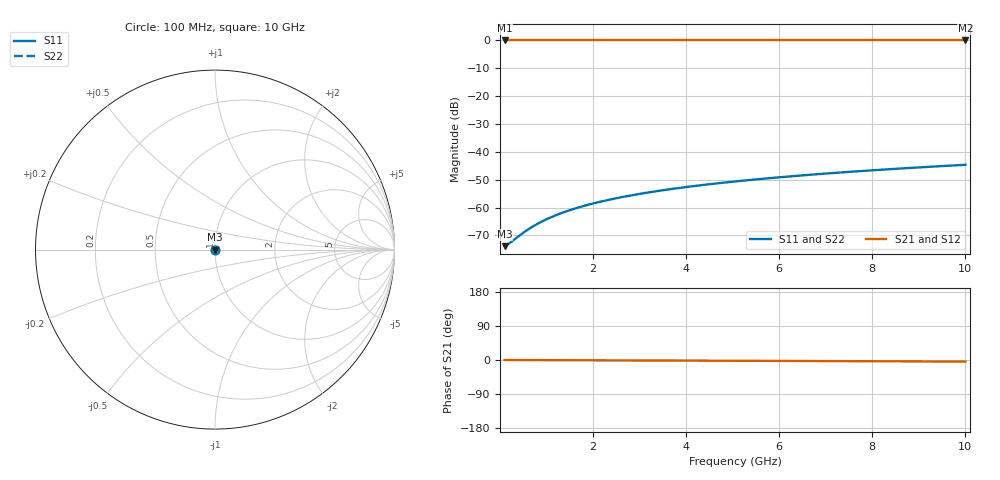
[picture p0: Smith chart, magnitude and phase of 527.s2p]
# Hz S RI R 50.00
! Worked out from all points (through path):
!   100 points, 100 MHz to 10 GHz, reference 50 ohm
!   highest |S21| = 0.00 dB at 100 MHz (marker M1); lowest = 0.0 dB at 10 GHz (marker M2)
!   lowest |S11| = -73.9 dB at 100 MHz (marker M3), VSWR 1.00, Z = 50 + j0.00583 ohm
!   |S11| at or under -10 dB: start of sweep to end of sweep
!   |S22| runs from -73.9 to -44.6 dB; largest |S21 - S12| = 0
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1e8  0.000194 5.83e-05  0.9998 -0.000706  0.9998 -0.000706  0.000194 5.83e-05
2e8  0.000195 0.000117  0.9998 -0.00141  0.9998 -0.00141  0.000195 0.000117
5e8  0.000198 0.000291  0.9998 -0.00353  0.9998 -0.00353  0.000198 0.000291
6e8  0.000198 0.000349  0.9998 -0.00424  0.9998 -0.00424  0.000198 0.000349
7e8  0.000199 0.000408  0.9998 -0.00494  0.9998 -0.00494  0.000199 0.000408
9e8  0.000201 0.000524  0.9998 -0.00636  0.9998 -0.00636  0.000201 0.000524
1.1e9  0.000203 0.00064  0.9998 -0.00777  0.9998 -0.00777  0.000203 0.00064
1.3e9  0.000205 0.000756  0.9998 -0.00918  0.9998 -0.00918  0.000205 0.000756
1.5e9  0.000207 0.000873  0.9997 -0.0106  0.9997 -0.0106  0.000207 0.000873
1.8e9  0.000212 0.00105  0.9997 -0.0127  0.9997 -0.0127  0.000212 0.00105
2.1e9  0.000216 0.00122  0.9997 -0.0148  0.9997 -0.0148  0.000216 0.00122
2.5e9  0.000224 0.00145  0.9996 -0.0177  0.9996 -0.0177  0.000224 0.00145
2.9e9  0.000233 0.00168  0.9996 -0.0205  0.9996 -0.0205  0.000233 0.00168
3.4e9  0.000245 0.00197  0.9995 -0.024  0.9995 -0.024  0.000245 0.00197
3.8e9  0.000257 0.0022  0.9994 -0.0269  0.9994 -0.0269  0.000257 0.0022
4.2e9  0.00027 0.00243  0.9993 -0.0297  0.9993 -0.0297  0.00027 0.00243
5.1e9  0.000304 0.00295  0.9991 -0.0361  0.9991 -0.0361  0.000304 0.00295
5.9e9  0.00034 0.00342  0.9989 -0.0418  0.9989 -0.0418  0.00034 0.00342
6.7e9  0.000381 0.00388  0.9986 -0.0475  0.9986 -0.0475  0.000381 0.00388
7.5e9  0.000428 0.00435  0.9983 -0.0532  0.9983 -0.0532  0.000428 0.00435
8.4e9  0.000487 0.00488  0.998 -0.0597  0.998 -0.0597  0.000487 0.00488
1e10  0.00061 0.00583  0.9972 -0.0711  0.9972 -0.0711  0.00061 0.00583
